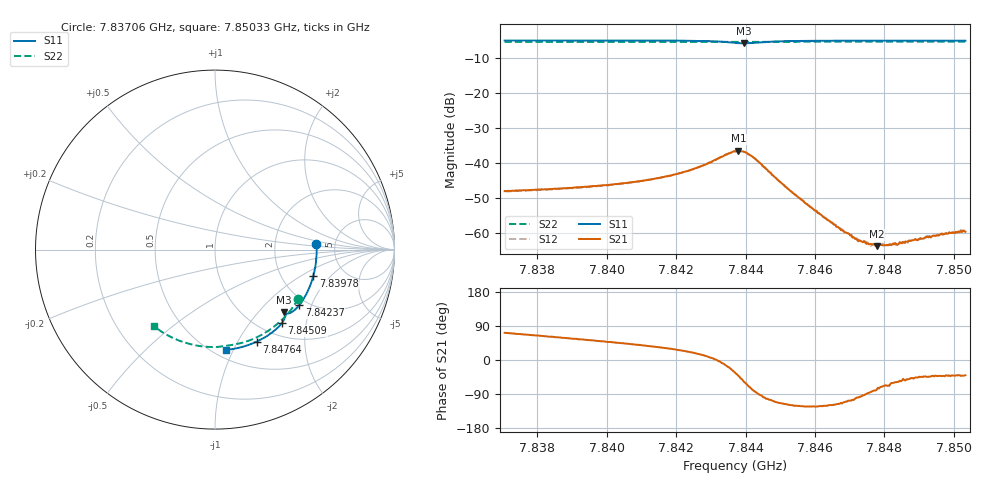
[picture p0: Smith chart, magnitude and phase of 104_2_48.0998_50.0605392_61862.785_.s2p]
#  HZ  S  RI  R  50.00
! Rohde & Schwarz Vector Network Analyzer
! Rohde-Schwarz,ZNB20-2Port,1311601062101988,3.16
! Created: UTC 12/23/2023, 3:45:05 AM
! freq[Hz]  re:S11  im:S11  re:S21  im:S21  re:S12  im:S12  re:S22  im:S22
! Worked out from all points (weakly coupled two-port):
!   401 points, 7.83706 GHz to 7.85033 GHz, reference 50 ohm
!   highest |S21| = -36.54 dB at 7.84379 GHz (marker M1); lowest = -63.9 dB at 7.84778 GHz (marker M2)
!   lowest |S11| = -5.7 dB at 7.84396 GHz (marker M3), VSWR 3.13, Z = 73 - j69.1 ohm
!   |S11| at or under -10 dB: nowhere
!   |S22| runs from -5.4 to -5.3 dB; largest |S21 - S12| = 0.00039
!   S11 on the Smith chart (normalised r, x): 7.83706 GHz: 3.58, +0.33; 7.83978 GHz: 2.99, -1.31; 7.84237 GHz: 1.81, -1.64; 7.84509 GHz: 1.24, -1.46; 7.84764 GHz: 0.80, -1.20; 7.85033 GHz: 0.57, -0.93
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7.837056e9  0.5654 0.0318  0.00124 0.00374  0.00126 0.0037  0.4651 -0.2736
7.839279e9  0.555 -0.1157  0.00262 0.00365  0.00256 0.00358  0.3686 -0.3951
7.839777e9  0.5472 -0.1482  0.00302 0.00361  0.00298 0.00357  0.3423 -0.4183
7.84064e9  0.5289 -0.2036  0.00385 0.00352  0.00379 0.00351  0.2938 -0.4543
7.841503e9  0.5036 -0.2575  0.00506 0.00337  0.00501 0.00338  0.2412 -0.4844
7.842366e9  0.4696 -0.3097  0.0072 0.00285  0.00717 0.00288  0.1853 -0.5086
7.842797e9  0.447 -0.3339  0.00911 0.00198  0.00908 0.00198  0.1565 -0.518
7.843195e9  0.4208 -0.3518  0.0114 -0.000345  0.0115 -0.000172  0.1293 -0.5248
7.843693e9  0.3858 -0.3546  0.0122 -0.00804  0.0122 -0.00788  0.0959 -0.5305
7.843793e9  0.3823 -0.3515  0.011 -0.00999  0.011 -0.00986  0.0898 -0.5315
7.843959e9  0.3817 -0.3471  0.00753 -0.0122  0.00779 -0.0119  0.0794 -0.5332
7.844291e9  0.3899 -0.3549  0.00107 -0.0112  0.00113 -0.0112  0.0577 -0.5373
7.845087e9  0.3737 -0.4075  -0.00209 -0.00437  -0.00209 -0.00442  0.002 -0.5426
7.845917e9  0.3323 -0.4507  -0.00121 -0.00188  -0.00117 -0.00189  -0.0565 -0.5408
7.846647e9  0.2914 -0.4805  -0.00053 -0.00109  -0.000522 -0.00106  -0.1073 -0.5336
7.847178e9  0.2602 -0.4988  -0.000152 -0.000796  -0.000161 -0.000816  -0.1437 -0.5252
7.847311e9  0.2521 -0.5031  -9.19e-05 -0.000756  -0.000103 -0.000739  -0.1526 -0.5226
7.847643e9  0.232 -0.5129  8.72e-05 -0.000673  7.11e-05 -0.00067  -0.175 -0.5158
7.847775e9  0.2239 -0.5166  0.000125 -0.000628  0.000134 -0.00065  -0.1837 -0.5129
7.84814e9  0.2011 -0.5259  0.000246 -0.000619  0.000319 -0.000612  -0.2077 -0.5039
7.8497e9  0.1009 -0.5535  0.000706 -0.000633  0.000694 -0.000639  -0.3044 -0.4531
7.850331e9  0.0594 -0.5592  0.000787 -0.000664  0.000804 -0.000737  -0.3402 -0.4274
